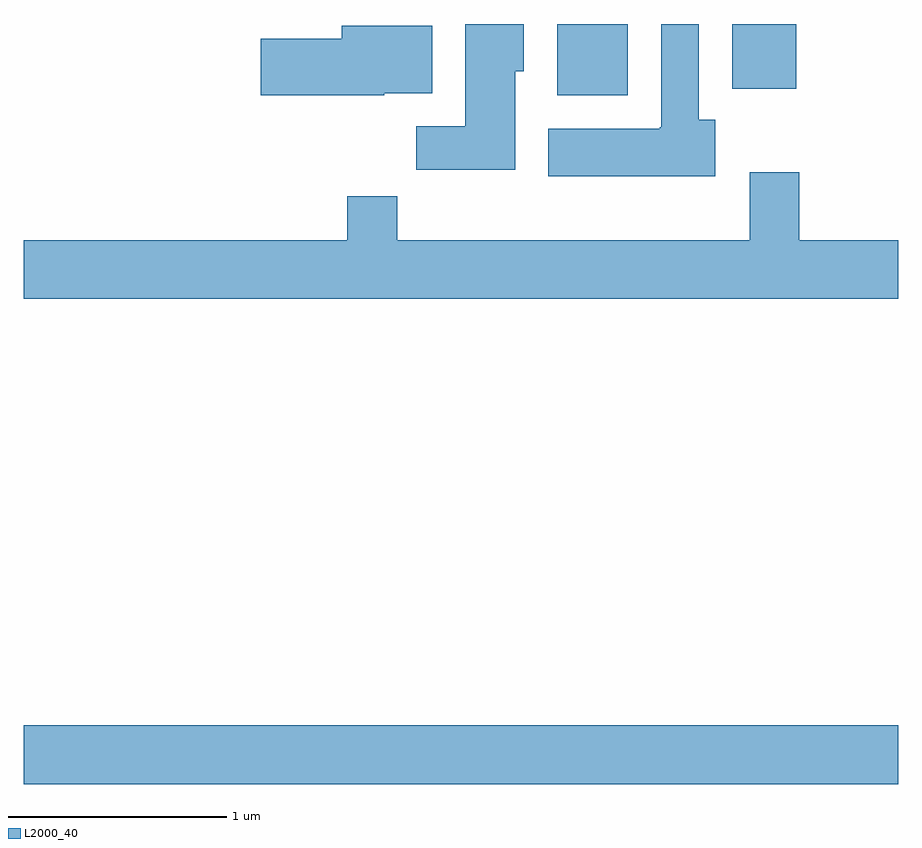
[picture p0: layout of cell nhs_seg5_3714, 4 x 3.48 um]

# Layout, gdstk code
import gdstk
lib = gdstk.Library(unit=1e-6, precision=1e-09)
def R(c, l, rs):  # rectangles x0, y0, x1, y1
    for r in rs: c.add(gdstk.rectangle(r[:2], r[2:], *l))
def P(c, l, *ps):  # polygons
    for p in ps: c.add(gdstk.Polygon(p, *l))
L2000_40 = (2000, 40)

nhs_seg5_3714 = lib.new_cell('nhs_seg5_3714')
R(nhs_seg5_3714, L2000_40, [(295.611,1434.596,299.611,1434.864), (298.051,1437.746,298.374,1438.072), (298.851,1437.776,299.144,1438.072)])
P(nhs_seg5_3714, L2000_40, [(297.859,1437.856),(297.899,1437.856),(297.899,1438.072),(297.631,1438.072),(297.631,1437.604),(297.406,1437.604),(297.406,1437.406),(297.859,1437.406)],
  [(298.774,1437.634),(298.699,1437.634),(298.699,1438.072),(298.526,1438.072),(298.526,1437.6),(298.52,1437.6),(298.52,1437.594),(298.011,1437.594),(298.011,1437.376),(298.774,1437.376)],
  [(297.26,1437.756),(297.479,1437.756),(297.479,1438.064),(297.066,1438.064),(297.066,1438.004),(296.696,1438.004),(296.696,1437.746),(297.26,1437.746)],
  [(299.611,1437.084),(299.159,1437.084),(299.159,1437.394),(298.931,1437.394),(298.931,1437.084),(297.319,1437.084),(297.319,1437.284),(297.091,1437.284),(297.091,1437.084),(295.611,1437.084),(295.611,1436.816),(299.611,1436.816)])

lib.write_gds('nhs_seg5_3714.gds')
